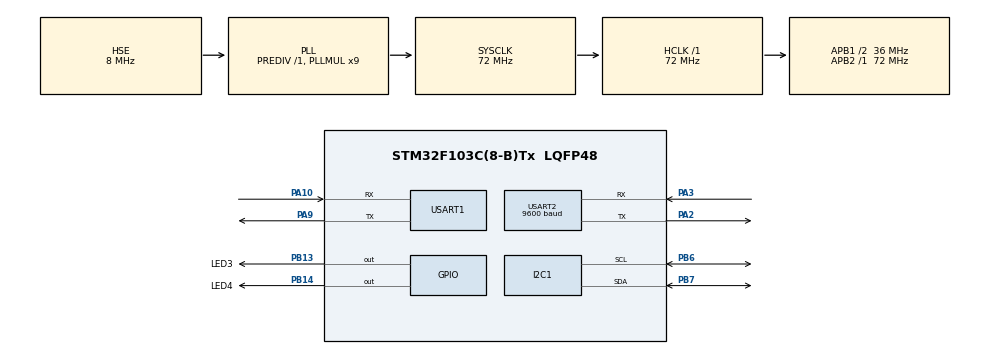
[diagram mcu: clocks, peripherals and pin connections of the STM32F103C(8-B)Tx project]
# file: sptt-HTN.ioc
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FREERTOS.Tasks01=defaultTask,0,256,StartDefaultTask,Default,NULL,Dynamic,NULL,NULL;myTask02,-3,256,StartTask02,Default,NULL,Dynamic,NULL,NULL;myTask03,-3,256,StartTask03,Default,NULL,Dynamic,NULL,NULL
FREERTOS.configTOTAL_HEAP_SIZE=10240
Mcu.Family=STM32F1
Mcu.Name=STM32F103C(8-B)Tx
Mcu.Package=LQFP48
NVIC.PriorityGroup=NVIC_PRIORITYGROUP_4
NVIC.USART1_IRQn=true\:5\:0\:false\:false\:true\:true\:true\:true\:true
PA10.Mode=Asynchronous
PA10.Signal=USART1_RX
PA13.Mode=Serial_Wire
PA13.Signal=SYS_JTMS-SWDIO
PA14.Mode=Serial_Wire
PA14.Signal=SYS_JTCK-SWCLK
PA2.Mode=Asynchronous
PA2.Signal=USART2_TX
PA3.Mode=Asynchronous
PA3.Signal=USART2_RX
PA9.Mode=Asynchronous
PA9.Signal=USART1_TX
PB13.GPIO_Label=LED3
PB13.Signal=GPIO_Output
PB14.GPIO_Label=LED4
PB14.Signal=GPIO_Output
PB6.Mode=I2C
PB6.Signal=I2C1_SCL
PB7.Mode=I2C
PB7.Signal=I2C1_SDA
PD0-OSC_IN.Mode=HSE-External-Oscillator
PD0-OSC_IN.Signal=RCC_OSC_IN
PD1-OSC_OUT.Mode=HSE-External-Oscillator
PD1-OSC_OUT.Signal=RCC_OSC_OUT
ProjectManager.HeapSize=0x200
ProjectManager.StackSize=0x400
ProjectManager.TargetToolchain=STM32CubeIDE
RCC.AHBFreq_Value=72000000
RCC.APB1CLKDivider=RCC_HCLK_DIV2
RCC.APB1Freq_Value=36000000
RCC.APB1TimFreq_Value=72000000
RCC.APB2Freq_Value=72000000
RCC.APB2TimFreq_Value=72000000
RCC.HCLKFreq_Value=72000000
RCC.PLLMUL=RCC_PLL_MUL9
RCC.PLLSourceVirtual=RCC_PLLSOURCE_HSE
RCC.SYSCLKFreq_VALUE=72000000
RCC.SYSCLKSource=RCC_SYSCLKSOURCE_PLLCLK
RCC.USBFreq_Value=72000000
USART1.VirtualMode=VM_ASYNC
USART2.BaudRate=9600
USART2.VirtualMode=VM_ASYNC
VP_FREERTOS_VS_CMSIS_V1.Mode=CMSIS_V1
VP_TIM2_VS_ClockSourceINT.Mode=Internal
board=custom

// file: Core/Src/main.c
/* USER CODE BEGIN Header */
/**
  ******************************************************************************
  * @file           : main.c
  * @brief          : Main program body
  ******************************************************************************
  * @attention
  *
  * Copyright (c) 2025 STMicroelectronics.
  * All rights reserved.
  *
  * This software is licensed under terms that can be found in the LICENSE file
  * in the root directory of this software component.
  * If no LICENSE file comes with this software, it is provided AS-IS.
  *
  ******************************************************************************
  */
/* USER CODE END Header */
#include "main.h"
#include "cmsis_os.h"

/* USER CODE BEGIN Includes */
#include "DHT.h"
#include "stdio.h"
#include "lcd_i2c.h"
#include "string.h"
/* USER CODE END Includes */

I2C_HandleTypeDef hi2c1;

TIM_HandleTypeDef htim2;

UART_HandleTypeDef huart1;
UART_HandleTypeDef huart2;

osThreadId defaultTaskHandle;
osThreadId myTask02Handle;
osThreadId myTask03Handle;
/* USER CODE BEGIN PV */
#define C_DHT 	22
#define T_DHT 	2000
#define C_UART	1
#define T_UART	4000
#define C_LCD 	11
#define T_LCD 	3000

//DL
float D_DHT = 0;
float D_UART = 0;
float D_LCD = 0;

int a = 1;
int b = 1;
int c = 1;

int Pri_DHT = 0;
int Pri_UART = 0;
int Pri_LCD = 0;

float start = 0;

DHT_DataTypedef dht;
float temp = 0;
float humid = 0;
uint8_t time = 0;

char ctrl[100];
char Rx_data[2];

/* USER CODE END PV */

void SystemClock_Config(void);
static void MX_GPIO_Init(void);
static void MX_I2C1_Init(void);
static void MX_TIM2_Init(void);
static void MX_USART1_UART_Init(void);
static void MX_USART2_UART_Init(void);
void StartDefaultTask(void const * argument);
void StartTask02(void const * argument);
void StartTask03(void const * argument);

/* USER CODE BEGIN 0 */
void task1()
{
	DHT_GetData (&dht);
	temp = dht.Temperature;
	humid = dht.Humidity;
}
void task2()
{
	char message[300];
	uint8_t length = snprintf(message, sizeof(message), " Nhiet do: %.2f, Do am: %.2f \r\n", temp, humid);
	if (length < sizeof(message)) HAL_UART_Transmit(&huart1, (uint8_t*) message, length, 100);
}

void task3()
{
	lcd_put_cur(0, 0);
	char message[50];
	snprintf(message, sizeof(message), "T:%.2f H:%.2f", temp, humid);
	lcd_send_string (message);  	// send string to the lcd
}
void task4()
{
//	char message[300];
//	uint8_t length = snprintf(message, sizeof(message), "Nhiet do: %.2f, Do am: %.2f \r\n", temp, humid);
//	if (length < sizeof(message)) HAL_UART_Transmit(&huart2, (uint8_t*) message, length, 100);
	HAL_GPIO_TogglePin(LED4_GPIO_Port, LED4_Pin);
	HAL_Delay(52);
}

float minValue() {
    float min = D_DHT; // Giả định ban đầu D_DHT là nh�? nhất

    if (D_UART < min) {
        min = D_UART; // Nếu D_UART nh�? hơn min, cập nhật min
    }

    if (D_LCD < min) {
        min = D_LCD; // Nếu D_LCD nh�? hơn min, cập nhật min
    }

    return min; // Trả v�? giá trị nh�? nhất
}

#include <stdio.h>

// Hàm trả v�? giá trị lớn nhất
float maxValue() {
    float max = D_DHT; // Giả định ban đầu D_DHT là lớn nhất

    if (D_UART > max) {
        max = D_UART; // Nếu D_UART lớn hơn max, cập nhật max
    }

    if (D_LCD > max) {
        max = D_LCD; // Nếu D_LCD lớn hơn max, cập nhật max
    }

    return max; // Trả v�? giá trị lớn nhất
}

// Hàm trả v�? giá trị ở giữa
float medianValue() {
    // Kiểm tra từng trư�?ng hợp để tìm giá trị ở giữa
    if ((D_DHT > D_UART && D_DHT < D_LCD) || (D_DHT > D_LCD && D_DHT < D_UART)) {
        return D_DHT; // D_DHT nằm giữa
    }
    if ((D_UART > D_DHT && D_UART < D_LCD) || (D_UART > D_LCD && D_UART < D_DHT)) {
        return D_UART; // D_UART nằm giữa
    }
    return D_LCD; // Nếu không phải D_DHT hay D_UART, thì D_LCD nằm giữa
}

/* USER CODE END 0 */

int main(void)
{

  /* MCU Configuration--------------------------------------------------------*/

  /* Reset of all peripherals, Initializes the Flash interface and the Systick. */
  HAL_Init();

  /* Configure the system clock */
  SystemClock_Config();

  /* Initialize all configured peripherals */
  MX_GPIO_Init();
  MX_I2C1_Init();
  MX_TIM2_Init();
  MX_USART1_UART_Init();
  MX_USART2_UART_Init();
  /* USER CODE BEGIN 2 */
//  HAL_TIM_Base_Start_IT(&htim2); // Bắt đầu timer với ngắt
  lcd_init();
  /* USER CODE END 2 */

  /* Create the thread(s) */
  /* definition and creation of defaultTask */
  osThreadDef(defaultTask, StartDefaultTask, Pri_DHT, 0, 256);
  defaultTaskHandle = osThreadCreate(osThread(defaultTask), NULL);

  /* definition and creation of myTask02 */
  osThreadDef(myTask02, StartTask02, Pri_UART, 0, 256);
  myTask02Handle = osThreadCreate(osThread(myTask02), NULL);

  /* definition and creation of myTask03 */
  osThreadDef(myTask03, StartTask03, Pri_LCD, 0, 256);
  myTask03Handle = osThreadCreate(osThread(myTask03), NULL);

  /* Start scheduler */
  osKernelStart();

  /* We should never get here as control is now taken by the scheduler */
  /* Infinite loop */
  while (1)
  {

  }
}

void SystemClock_Config(void)
{
  RCC_OscInitTypeDef RCC_OscInitStruct = {0};
  RCC_ClkInitTypeDef RCC_ClkInitStruct = {0};

  /** Initializes the RCC Oscillators according to the specified parameters
  * in the RCC_OscInitTypeDef structure.
  */
  RCC_OscInitStruct.OscillatorType = RCC_OSCILLATORTYPE_HSE;
  RCC_OscInitStruct.HSEState = RCC_HSE_ON;
  RCC_OscInitStruct.HSEPredivValue = RCC_HSE_PREDIV_DIV1;
  RCC_OscInitStruct.HSIState = RCC_HSI_ON;
  RCC_OscInitStruct.PLL.PLLState = RCC_PLL_ON;
  RCC_OscInitStruct.PLL.PLLSource = RCC_PLLSOURCE_HSE;
  RCC_OscInitStruct.PLL.PLLMUL = RCC_PLL_MUL9;
  if (HAL_RCC_OscConfig(&RCC_OscInitStruct) != HAL_OK)
  {
    Error_Handler();
  }

  /** Initializes the CPU, AHB and APB buses clocks
  */
  RCC_ClkInitStruct.ClockType = RCC_CLOCKTYPE_HCLK|RCC_CLOCKTYPE_SYSCLK
                              |RCC_CLOCKTYPE_PCLK1|RCC_CLOCKTYPE_PCLK2;
  RCC_ClkInitStruct.SYSCLKSource = RCC_SYSCLKSOURCE_PLLCLK;
  RCC_ClkInitStruct.AHBCLKDivider = RCC_SYSCLK_DIV1;
  RCC_ClkInitStruct.APB1CLKDivider = RCC_HCLK_DIV2;
  RCC_ClkInitStruct.APB2CLKDivider = RCC_HCLK_DIV1;

  if (HAL_RCC_ClockConfig(&RCC_ClkInitStruct, FLASH_LATENCY_2) != HAL_OK)
  {
    Error_Handler();
  }
}

static void MX_I2C1_Init(void)
{

  hi2c1.Instance = I2C1;
  hi2c1.Init.ClockSpeed = 100000;
  hi2c1.Init.DutyCycle = I2C_DUTYCYCLE_2;
  hi2c1.Init.OwnAddress1 = 0;
  hi2c1.Init.AddressingMode = I2C_ADDRESSINGMODE_7BIT;
  hi2c1.Init.DualAddressMode = I2C_DUALADDRESS_DISABLE;
  hi2c1.Init.OwnAddress2 = 0;
  hi2c1.Init.GeneralCallMode = I2C_GENERALCALL_DISABLE;
  hi2c1.Init.NoStretchMode = I2C_NOSTRETCH_DISABLE;
  if (HAL_I2C_Init(&hi2c1) != HAL_OK)
  {
    Error_Handler();
  }

}

static void MX_TIM2_Init(void)
{

  TIM_ClockConfigTypeDef sClockSourceConfig = {0};
  TIM_MasterConfigTypeDef sMasterConfig = {0};

  htim2.Instance = TIM2;
  htim2.Init.Prescaler = 0;
  htim2.Init.CounterMode = TIM_COUNTERMODE_UP;
  htim2.Init.Period = 65535;
  htim2.Init.ClockDivision = TIM_CLOCKDIVISION_DIV1;
  htim2.Init.AutoReloadPreload = TIM_AUTORELOAD_PRELOAD_DISABLE;
  if (HAL_TIM_Base_Init(&htim2) != HAL_OK)
  {
    Error_Handler();
  }
  sClockSourceConfig.ClockSource = TIM_CLOCKSOURCE_INTERNAL;
  if (HAL_TIM_ConfigClockSource(&htim2, &sClockSourceConfig) != HAL_OK)
  {
    Error_Handler();
  }
  sMasterConfig.MasterOutputTrigger = TIM_TRGO_RESET;
  sMasterConfig.MasterSlaveMode = TIM_MASTERSLAVEMODE_DISABLE;
  if (HAL_TIMEx_MasterConfigSynchronization(&htim2, &sMasterConfig) != HAL_OK)
  {
    Error_Handler();
  }

}

static void MX_USART1_UART_Init(void)
{

  huart1.Instance = USART1;
  huart1.Init.BaudRate = 115200;
  huart1.Init.WordLength = UART_WORDLENGTH_8B;
  huart1.Init.StopBits = UART_STOPBITS_1;
  huart1.Init.Parity = UART_PARITY_NONE;
  huart1.Init.Mode = UART_MODE_TX_RX;
  huart1.Init.HwFlowCtl = UART_HWCONTROL_NONE;
  huart1.Init.OverSampling = UART_OVERSAMPLING_16;
  if (HAL_UART_Init(&huart1) != HAL_OK)
  {
    Error_Handler();
  }

}

static void MX_USART2_UART_Init(void)
{

  huart2.Instance = USART2;
  huart2.Init.BaudRate = 9600;
  huart2.Init.WordLength = UART_WORDLENGTH_8B;
  huart2.Init.StopBits = UART_STOPBITS_1;
  huart2.Init.Parity = UART_PARITY_NONE;
  huart2.Init.Mode = UART_MODE_TX_RX;
  huart2.Init.HwFlowCtl = UART_HWCONTROL_NONE;
  huart2.Init.OverSampling = UART_OVERSAMPLING_16;
  if (HAL_UART_Init(&huart2) != HAL_OK)
  {
    Error_Handler();
  }

}

static void MX_GPIO_Init(void)
{
  GPIO_InitTypeDef GPIO_InitStruct = {0};

  /* GPIO Ports Clock Enable */
  __HAL_RCC_GPIOD_CLK_ENABLE();
  __HAL_RCC_GPIOA_CLK_ENABLE();
  __HAL_RCC_GPIOB_CLK_ENABLE();

  /*Configure GPIO pin Output Level */
  HAL_GPIO_WritePin(GPIOB, LED3_Pin|LED4_Pin, GPIO_PIN_RESET);

  /*Configure GPIO pins : LED3_Pin LED4_Pin */
  GPIO_InitStruct.Pin = LED3_Pin|LED4_Pin;
  GPIO_InitStruct.Mode = GPIO_MODE_OUTPUT_PP;
  GPIO_InitStruct.Pull = GPIO_NOPULL;
  GPIO_InitStruct.Speed = GPIO_SPEED_FREQ_LOW;
  HAL_GPIO_Init(GPIOB, &GPIO_InitStruct);

}

void StartDefaultTask(void const * argument)
{
  /* USER CODE BEGIN 5 */
  /* Infinite loop */
  for(;;)
  {
	task1();
	start = HAL_GetTick();
	D_DHT = a*T_DHT - C_DHT - start;
	D_UART = b*T_UART - C_UART - start;
	D_LCD = c*T_LCD - C_LCD - start;

	// DHT
	if(D_DHT == minValue())		Pri_DHT = 0;
	if(D_DHT == medianValue())	Pri_DHT = -1;
	if(D_DHT == maxValue())	Pri_DHT = -2;

	// UART
	if(D_UART == minValue())	Pri_UART = 0;
	if(D_UART == medianValue())	Pri_UART = -1;
	if(D_UART == maxValue())	Pri_UART = -2;

	//LCD
	if(D_LCD == minValue())		Pri_LCD = 0;
	if(D_LCD == medianValue())	Pri_LCD = -1;
	if(D_LCD == maxValue())		Pri_LCD = -2;

    osDelay(T_DHT);
  }
  /* USER CODE END 5 */
}

void StartTask02(void const * argument)
{
  /* USER CODE BEGIN StartTask02 */
  /* Infinite loop */
  for(;;)
  {
	task2();
	start = HAL_GetTick();
	D_DHT = a*T_DHT - C_DHT - start;
	D_UART = b*T_UART - C_UART - start;
	D_LCD = c*T_LCD - C_LCD - start;

	// DHT
	if(D_DHT == minValue())		Pri_DHT = 0;
	if(D_DHT == medianValue())	Pri_DHT = -1;
	if(D_DHT == maxValue())	Pri_DHT = -2;

	// UART
	if(D_UART == minValue())	Pri_UART = 0;
	if(D_UART == medianValue())	Pri_UART = -1;
	if(D_UART == maxValue())	Pri_UART = -2;

	//LCD
	if(D_LCD == minValue())		Pri_LCD = 0;
	if(D_LCD == medianValue())	Pri_LCD = -1;
	if(D_LCD == maxValue())		Pri_LCD = -2;

    osDelay(T_UART);
  }
  /* USER CODE END StartTask02 */
}

void StartTask03(void const * argument)
{
  /* USER CODE BEGIN StartTask03 */
  /* Infinite loop */
  for(;;)
  {
	task3();
	start = HAL_GetTick();
	D_DHT = a*T_DHT - C_DHT - start;
	D_UART = b*T_UART - C_UART - start;
	D_LCD = c*T_LCD - C_LCD - start;

	// DHT
	if(D_DHT == minValue())		Pri_DHT = 0;
	if(D_DHT == medianValue())	Pri_DHT = -1;
	if(D_DHT == maxValue())	Pri_DHT = -2;

	// UART
	if(D_UART == minValue())	Pri_UART = 0;
	if(D_UART == medianValue())	Pri_UART = -1;
	if(D_UART == maxValue())	Pri_UART = -2;

	//LCD
	if(D_LCD == minValue())		Pri_LCD = 0;
	if(D_LCD == medianValue())	Pri_LCD = -1;
	if(D_LCD == maxValue())		Pri_LCD = -2;

	osDelay(T_LCD);

  }
  /* USER CODE END StartTask03 */
}

void Error_Handler(void)
{
  __disable_irq();
  while (1)
  {
  }
}
